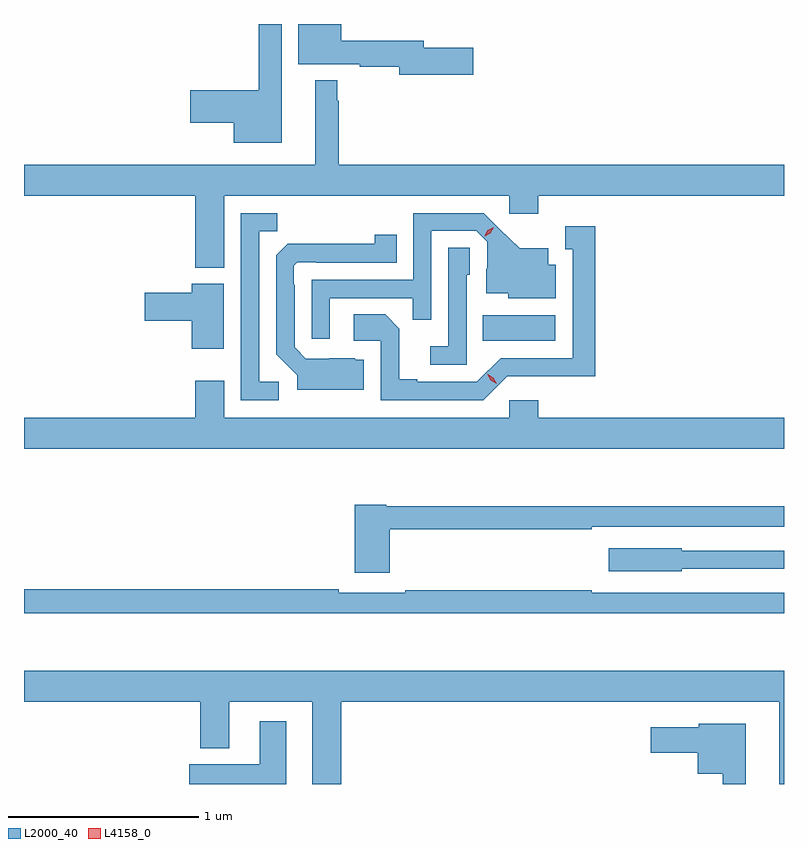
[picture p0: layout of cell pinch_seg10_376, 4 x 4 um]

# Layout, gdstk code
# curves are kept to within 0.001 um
import gdstk
lib = gdstk.Library(unit=1e-6, precision=1e-09)
def R(c, l, rs):  # rectangles x0, y0, x1, y1
    for r in rs: c.add(gdstk.rectangle(r[:2], r[2:], *l))
def P(c, l, *ps):  # polygons
    for p in ps: c.add(gdstk.Polygon(p, *l))
L2000_40 = (2000, 40)
L4158_0 = (4158, 0)

pinch_seg10_376 = lib.new_cell('pinch_seg10_376')
R(pinch_seg10_376, L2000_40, [(612.226,1256.93,612.607,1257.064)])
P(pinch_seg10_376, L2000_40, [(612.175,1258.472),(611.914,1258.472),(611.914,1258.508),(611.482,1258.508),(611.482,1258.596),(611.255,1258.596),(611.255,1258.385),(611.578,1258.385),(611.578,1258.372),(611.786,1258.372),(611.786,1258.33),(612.175,1258.33)],
  [(611.167,1258.596),(611.046,1258.596),(611.046,1258.247),(610.686,1258.247),(610.686,1258.076),(610.916,1258.076),(610.916,1257.971),(611.167,1257.971)],
  [(610.864,1257.692),(612.366,1257.692),(612.366,1257.597),(612.518,1257.597),(612.518,1257.692),(613.811,1257.692),(613.811,1257.856),(611.467,1257.856),(611.467,1258.193),(611.46,1258.193),(611.46,1258.3),(611.345,1258.3),(611.345,1257.856),(609.811,1257.856),(609.811,1257.692),(610.712,1257.692),(610.712,1257.314),(610.864,1257.314)],
  [(611.152,1256.712),(611.049,1256.712),(611.049,1257.505),(611.145,1257.505),(611.145,1257.6),(610.953,1257.6),(610.953,1256.616),(611.152,1256.616)],
  [(611.421,1257.153),(611.857,1257.153),(611.857,1257.04),(611.955,1257.04),(611.955,1257.507),(612.192,1257.507),(612.249,1257.45),(612.249,1257.308),(612.245,1257.308),(612.245,1257.179),(612.36,1257.179),(612.36,1257.152),(612.61,1257.152),(612.61,1257.328),(612.571,1257.328),(612.571,1257.415),(612.419,1257.415),(612.232,1257.6),(611.859,1257.6),(611.859,1257.249),(611.325,1257.249),(611.325,1256.94),(611.421,1256.94)],
  [(612.354,1256.742),(612.817,1256.741),(612.817,1257.532),(612.659,1257.532),(612.659,1257.411),(612.698,1257.411),(612.698,1256.838),(612.321,1256.838),(612.195,1256.712),(611.881,1256.712),(611.881,1256.725),(611.787,1256.725),(611.787,1256.992),(611.711,1257.068),(611.547,1257.068),(611.547,1256.928),(611.688,1256.928),(611.688,1256.616),(612.228,1256.616)],
  [(611.599,1256.83),(611.558,1256.83),(611.552,1256.836),(611.295,1256.835),(611.235,1256.895),(611.235,1257.224),(611.232,1257.224),(611.232,1257.324),(611.25,1257.342),(611.35,1257.342),(611.35,1257.339),(611.774,1257.339),(611.774,1257.487),(611.656,1257.487),(611.656,1257.44),(611.198,1257.439),(611.139,1257.38),(611.139,1256.858),(611.249,1256.748),(611.249,1256.672),(611.599,1256.672)],
  [(612.141,1257.276),(612.156,1257.276),(612.156,1257.419),(612.045,1257.419),(612.045,1256.899),(611.949,1256.899),(611.949,1256.802),(612.141,1256.802)],
  [(610.861,1257.229),(610.694,1257.229),(610.694,1257.182),(610.446,1257.182),(610.446,1257.035),(610.694,1257.035),(610.694,1256.886),(610.861,1256.886)],
  [(613.811,1256.524),(612.518,1256.524),(612.518,1256.617),(612.366,1256.617),(612.366,1256.524),(610.864,1256.524),(610.864,1256.719),(610.712,1256.719),(610.712,1256.524),(609.811,1256.524),(609.811,1256.36),(613.811,1256.36)],
  [(611.735,1255.938),(612.8,1255.938),(612.8,1255.95),(613.811,1255.95),(613.811,1256.059),(611.718,1256.059),(611.718,1256.067),(611.552,1256.067),(611.552,1255.707),(611.735,1255.707)],
  [(613.272,1255.728),(613.811,1255.728),(613.811,1255.824),(613.272,1255.824),(613.272,1255.837),(612.888,1255.837),(612.888,1255.715),(613.272,1255.715)],
  [(613.811,1255.602),(612.8,1255.602),(612.8,1255.615),(611.818,1255.615),(611.818,1255.602),(611.468,1255.602),(611.468,1255.622),(609.811,1255.622),(609.811,1255.494),(613.811,1255.494)],
  [(611.48,1255.028),(613.787,1255.028),(613.787,1254.596),(613.811,1254.596),(613.811,1255.192),(609.811,1255.192),(609.811,1255.028),(610.739,1255.028),(610.739,1254.785),(610.891,1254.785),(610.891,1255.028),(611.327,1255.028),(611.327,1254.596),(611.48,1254.596)],
  [(611.191,1254.925),(611.051,1254.925),(611.051,1254.7),(610.682,1254.7),(610.682,1254.596),(611.191,1254.596)],
  [(613.609,1254.913),(613.362,1254.913),(613.362,1254.895),(613.11,1254.895),(613.11,1254.761),(613.358,1254.761),(613.358,1254.65),(613.488,1254.65),(613.488,1254.596),(613.609,1254.596)])
P(pinch_seg10_376, L4158_0, [(612.299,1256.702),(612.267,1256.721),(612.25,1256.754),(612.25,1256.754),(612.25,1256.754),(612.282,1256.735),(612.299,1256.702),(612.299,1256.702)],
  [(612.235,1257.48),(612.235,1257.481),(612.253,1257.51),(612.283,1257.525),(612.284,1257.525),(612.284,1257.525),(612.266,1257.495),(612.235,1257.48)])

lib.write_gds('pinch_seg10_376.gds')
